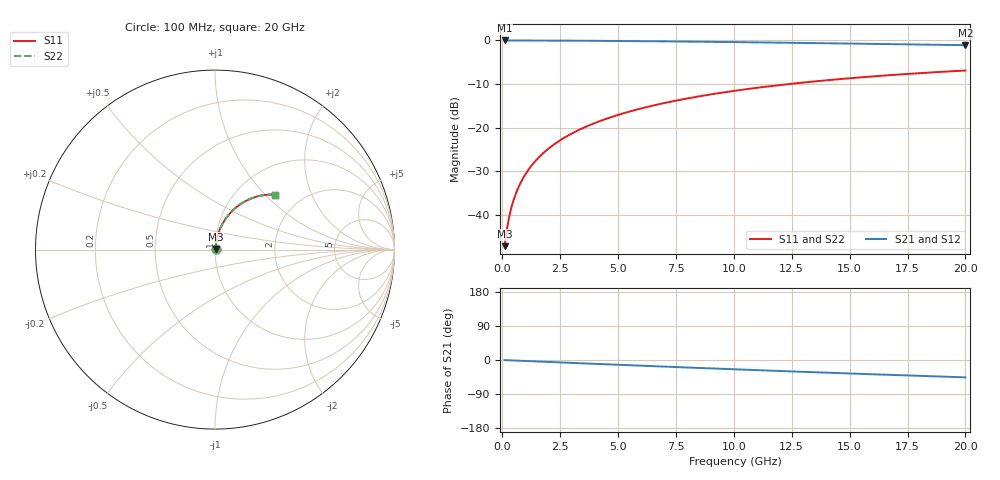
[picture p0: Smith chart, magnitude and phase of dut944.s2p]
! Touchstone file exported from HFSS 2026.1.0
!  File:  C:/ffzhzh/LocalFiles/Ansys_Project_Files/temp_train_BSMRDL_944_1783172113_51560.aedt
!  Generated:  09:36:30 PM Jul  4, 2026
!  Design:  BSMRDL
!  Project:  temp_train_BSMRDL_944_1783172113_51560
! Variables:
!  h_bsmrdl = 4.57um
!  h_ox = 20um
!  h_rdl = 5um
!  h_sub = 80um
!  h_tmrdl = 5um
!  h_tsv = 80um
!  h_via = 3um
!  l_bsmrdl = 657.33um
!  l_sub = 1057.33um
!  l_tmrdl = 200um
!  m_sub = 200um
!  pitch = 48.16um
!  r_tsv = 6um
!  s_tmrdl = 10um
!  w_bsmrdl = 16.79um
!  w_sub = 500um
!  w_tmrdl = 12um
!  x_tsv_center1 = 206um
!  x_tsv_center2 = 880.12um
!  x_tsv_center3 = 1092.12um
!  x_tsv_center4 = 1766.24um
!  x_tsv_center5 = 1978.24um
!  x_tsv_center6 = 2652.36um
# GHz S MA R 50.000000
! Terminal data exported
! Port[1] = BSM_RDL1_1_T1
! Port[2] = BSM_RDL1_1_T2
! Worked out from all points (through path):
!   200 points, 100 MHz to 20 GHz, reference 50 ohm
!   highest |S21| = -0.03 dB at 100 MHz (marker M1); lowest = -1.1 dB at 20 GHz (marker M2)
!   group delay of S21, straight-line fit = 6.36 ps
!   lowest |S11| = -47.2 dB at 100 MHz (marker M3), VSWR 1.01, Z = 50.3 + j0.306 ohm
!   |S11| at or under -10 dB: start of sweep to 12.41 GHz
!   |S22| runs from -47.2 to -6.9 dB; largest |S21 - S12| = 2.7e-15
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0.1  0.004382 44.0  0.9969 -0.3  0.9969 -0.3  0.004382 44.0
! Gamma 0 0 0 0
! Port Impedance 50 0 50 0
0.2  0.006867 61.2  0.9967 -0.5  0.9967 -0.5  0.006867 61.2
0.3  0.009579 68.6  0.9966 -0.8  0.9966 -0.8  0.009579 68.6
0.4  0.01234 72.6  0.9965 -1.0  0.9965 -1.0  0.01234 72.6
0.5  0.01513 75.1  0.9963 -1.3  0.9963 -1.3  0.01513 75.1
0.6  0.01794 76.8  0.9962 -1.6  0.9962 -1.6  0.01794 76.8
0.8  0.02358 78.8  0.996 -2.1  0.996 -2.1  0.02358 78.8
1.1  0.03209 80.2  0.9956 -2.8  0.9956 -2.8  0.03209 80.2
1.5  0.04345 80.8  0.995 -3.9  0.995 -3.9  0.04345 80.8
1.8  0.05196 80.7  0.9944 -4.6  0.9944 -4.6  0.05196 80.7
2.1  0.06043 80.4  0.9937 -5.4  0.9937 -5.4  0.06043 80.4
2.7  0.07726 79.5  0.9922 -6.9  0.9922 -6.9  0.07726 79.5
3.5  0.0994 77.9  0.9896 -8.9  0.9896 -8.9  0.0994 77.9
4.2  0.1184 76.4  0.9869 -10.7  0.9869 -10.7  0.1184 76.4
5  0.1398 74.6  0.9835 -12.6  0.9835 -12.6  0.1398 74.6
5.9  0.1634 72.6  0.9792 -14.8  0.9792 -14.8  0.1634 72.6
6.8  0.1864 70.6  0.9745 -17.0  0.9745 -17.0  0.1864 70.5
8.3  0.2234 67.2  0.9658 -20.6  0.9658 -20.6  0.2234 67.1
10.1  0.2657 63.2  0.9543 -24.7  0.9543 -24.7  0.2657 63.1
13.4  0.3366 56.0  0.9308 -32.1  0.9308 -32.1  0.3366 56.0
16.7  0.3985 49.2  0.9056 -39.2  0.9056 -39.2  0.3985 49.2
20  0.4514 42.7  0.8804 -45.8  0.8804 -45.8  0.4514 42.7
